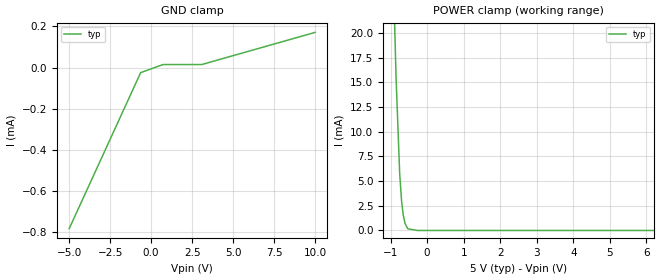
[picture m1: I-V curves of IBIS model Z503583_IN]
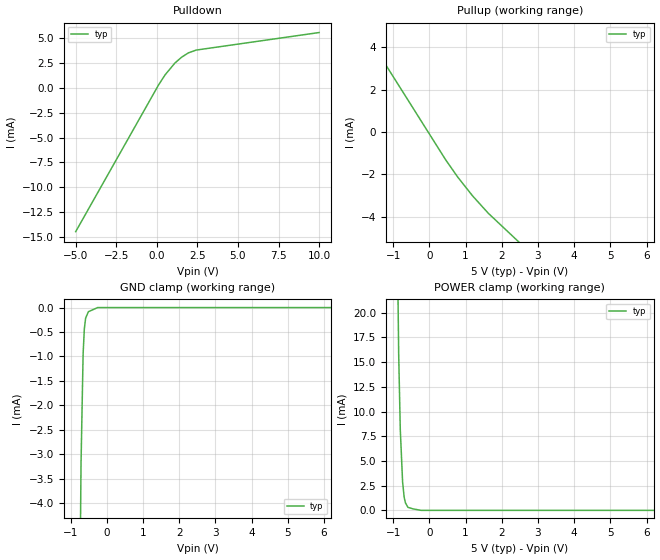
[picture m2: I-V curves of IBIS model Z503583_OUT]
| YOU ARE ONLY AUTHORIZED TO USE THIS SOFTWARE
| ACCORDING TO LICENSOR'S LICENSE RESTRICTIONS.
[IBIS Ver] 3.1
[File Name] mc14099bcl.ibs
[File Rev] 2.0
[Source] Measured and created by ICX Technology
[Date] Friday 7/14/00 9:07:53 AM
[Copyright]
| (C) COPYRIGHT 1993-2000
| MENTOR GRAPHICS CORPORATION
| ICX STANDARD LIBRARY, ICX PROJECT MODELING,
| ICX CUSTOM MODELING, ICX VENDOR MODEL
| ALL RIGHTS RESERVED.
| THE FOLLOWING ARE TRADEMARKS OR SERVICE MARKS OF
| MENTOR GRAPHICS CORPORATION:ICX (R), ICX STANDARD
| LIBRARY(R), ICX PROJECT MODELING(R), ICX CUSTOM
| MODELING(R), qualityIBIS(TM), MODELVIEWER(TM),
| AND MODELEDITOR(TM)
| ALL COPIES OF SOFTWARE, INCLUDING BUT NOT LIMITED TO
| ANY MODIFICATIONS, ENHANCEMENTS OR DERIVATIVE WORKS,
| MUST CONTAIN ALL MENTOR GRAPHICS CORPORATION'S
| NOTICES AND LEGENDS, INCLUDING THOSE EMBEDDED IN
| SOFTWARE AND THOSE AFFIXED TO SOFTWARE MEDIUM
| AND CONTAINER, AS RECEIVED FROM MENTOR GRAPHICS
| CORPORATION.
|  ZAP Model Builder 2.7
[Component] MC14099BCL
[Manufacturer] OnSemiconductor
[Package]
| variable   typ   min   max
R_pkg  .212ohms NA NA
L_pkg  4.758nH NA NA
C_pkg  1.944pF NA NA
[Pin] signal_name  model_name  R_pin  L_pin C_pin
1 Q7 Z503583_OUT .224 7.258n 2.683p
2 RESET Z503583_IN .216 5.258n 2.19p
3 D Z503583_IN .208 3.758n 1.697p
4 W Z503583_IN .2 2.758n 1.204p
5 A0 Z503583_IN .2 2.758n 1.204p
6 A1 Z503583_IN .208 3.758n 1.697p
7 A2 Z503583_IN .216 5.258n 2.19p
8 VSS POWER .224 7.258n 2.683p
9 Q0 Z503583_OUT .224 7.258n 2.683p
10 Q1 Z503583_OUT .216 5.258n 2.19p
11 Q2 Z503583_OUT .208 3.758n 1.697p
12 Q3 Z503583_OUT .2 2.758n 1.204p
13 Q4 Z503583_OUT .2 2.758n 1.204p
14 Q5 Z503583_OUT .208 3.758n 1.697p
15 Q6 Z503583_OUT .216 5.258n 2.19p
16 VDD POWER .224 7.258n 2.683p
| Models and submodels in the file (2): Z503583_IN (Input), Z503583_OUT (Output)
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| (C) COPYRIGHT 1993-2000
| MENTOR GRAPHICS CORPORATION
| ICX STANDARD LIBRARY, ICX PROJECT MODELING,
| ICX CUSTOM MODELING, ICX VENDOR MODEL
| ALL RIGHTS RESERVED.
| THE FOLLOWING ARE TRADEMARKS OR SERVICE MARKS OF
| MENTOR GRAPHICS CORPORATION:ICX (R), ICX STANDARD
| LIBRARY(R), ICX PROJECT MODELING(R), ICX CUSTOM
| MODELING(R), qualityIBIS(TM), MODELVIEWER(TM),
| AND MODELEDITOR(TM)
| ALL COPIES OF SOFTWARE, INCLUDING BUT NOT LIMITED TO
| ANY MODIFICATIONS, ENHANCEMENTS OR DERIVATIVE WORKS,
| MUST CONTAIN ALL MENTOR GRAPHICS CORPORATION'S
| NOTICES AND LEGENDS, INCLUDING THOSE EMBEDDED IN
| SOFTWARE AND THOSE AFFIXED TO SOFTWARE MEDIUM
| AND CONTAINER, AS RECEIVED FROM MENTOR GRAPHICS
| CORPORATION.
| Model Application Version 1.89 2/18/99.
[Model] Z503583_IN
Model_type Input
Vinl = 1.500V
Vinh = 3.500V
C_comp 4.000pF NA NA
| variable typ   min   max
[Voltage Range] 5.000V NA NA
[GND Clamp Reference] 0.000V NA NA
[POWER Clamp Reference] 5.000V NA NA
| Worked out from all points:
|   POWER clamp passes 1 mA (typ) near -0.62 V on its own axis
[GND Clamp]
-5V       -784.1uA   NA         NA
-642mV    -24.97uA   NA         NA
723.2mV   14.59uA    NA         NA
3.086V    14.59uA    NA         NA
10V       171uA      NA         NA
[POWER Clamp]
-5V       599.9mA    NA         NA
-850mV    15.58mA    NA         NA
-751mV    5.814mA    NA         NA
-698mV    2.953mA    NA         NA
-653mV    1.572mA    NA         NA
-603mV    714.1uA    NA         NA
-527mV    169.6uA    NA         NA
-263.5mV  0A         NA         NA
10V       0A         NA         NA
| (C) COPYRIGHT 1993-2000
| MENTOR GRAPHICS CORPORATION
| ICX STANDARD LIBRARY, ICX PROJECT MODELING,
| ICX CUSTOM MODELING, ICX VENDOR MODEL
| ALL RIGHTS RESERVED.
| THE FOLLOWING ARE TRADEMARKS OR SERVICE MARKS OF
| MENTOR GRAPHICS CORPORATION:ICX (R), ICX STANDARD
| LIBRARY(R), ICX PROJECT MODELING(R), ICX CUSTOM
| MODELING(R), qualityIBIS(TM), MODELVIEWER(TM),
| AND MODELEDITOR(TM)
| ALL COPIES OF SOFTWARE, INCLUDING BUT NOT LIMITED TO
| ANY MODIFICATIONS, ENHANCEMENTS OR DERIVATIVE WORKS,
| MUST CONTAIN ALL MENTOR GRAPHICS CORPORATION'S
| NOTICES AND LEGENDS, INCLUDING THOSE EMBEDDED IN
| SOFTWARE AND THOSE AFFIXED TO SOFTWARE MEDIUM
| AND CONTAINER, AS RECEIVED FROM MENTOR GRAPHICS
| CORPORATION.
| Model Application Version 1.89 2/18/99.
[Model] Z503583_OUT
Model_type Output
Vref=0.000V
Rref=500.0Mohms
Cref=50.00pF
Vmeas=2.500V
C_comp 8.000pF NA NA
| variable typ   min   max
[Voltage Range] 5.000V NA NA
[POWER Clamp Reference] 5.000V NA NA
[Pullup Reference] 5.000V NA NA
[Pulldown Reference] 0.000V NA NA
[GND Clamp Reference] 0.000V NA NA
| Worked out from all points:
|   slope of the pulldown table from 0 to 0.75 V, typ, clamps not added: 417 ohm
|   slope of the pullup table from 0 to 0.75 V, typ, clamps not added: 384 ohm
|   GND clamp passes 1 mA (typ) near -0.66 V on its own axis
|   POWER clamp passes 1 mA (typ) near -0.68 V on its own axis
[GND Clamp]
-5V       -371.1mA   NA         NA
-716.3mV  -3.193mA   NA         NA
-658.3mV  -943.9uA   NA         NA
-624.9mV  -435.5uA   NA         NA
-589.6mV  -217.7uA   NA         NA
-513.8mV  -85.06uA   NA         NA
-256.9mV  0A         NA         NA
10V       0A         NA         NA
[Pulldown]
-5V       -14.48mA   NA         NA
103.3mV   293uA      NA         NA
512.7mV   1.326mA    NA         NA
1.118V    2.514mA    NA         NA
1.532V    3.105mA    NA         NA
1.944V    3.533mA    NA         NA
2.425V    3.816mA    NA         NA
10V       5.584mA    NA         NA
[Pullup]
-5V       13.44mA    NA         NA
451mV     -1.315mA   NA         NA
782mV     -2.125mA   NA         NA
1.192V    -3.011mA   NA         NA
1.622V    -3.824mA   NA         NA
10V       -17.29mA   NA         NA
[POWER Clamp]
-5V       1.295A     NA         NA
-850mV    15.79mA    NA         NA
-806mV    8.192mA    NA         NA
-742mV    2.87mA     NA         NA
-698mV    1.319mA    NA         NA
-664mV    767uA      NA         NA
-594mV    304.6uA    NA         NA
-458mV    152.8uA    NA         NA
-229mV    0A         NA         NA
10V       0A         NA         NA
[Ramp]
| variable typ min max
dV/dt_r 2.622/15.11n NA NA
dV/dt_f 2.622/18.00n NA NA
R_load = 2.500kOhms
